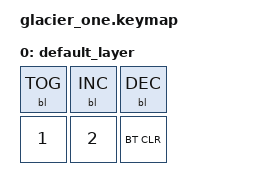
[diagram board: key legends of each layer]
#include <behaviors.dtsi>
#include <dt-bindings/zmk/keys.h>
#include <dt-bindings/zmk/bt.h>
#include <dt-bindings/zmk/outputs.h>
#include <dt-bindings/zmk/backlight.h>

/ {
	keymap0: keymap {
		compatible = "zmk,keymap";

		default_layer {

// -------------
// | 4 | 5 | 6 |
// | 1 | 2 | 3 |
// -------------

          bindings = <
    
    &bl BL_TOG &bl BL_INC &bl BL_DEC
    &kp N1 &kp N2 &bt BT_CLR

            >;
        };
    };
};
